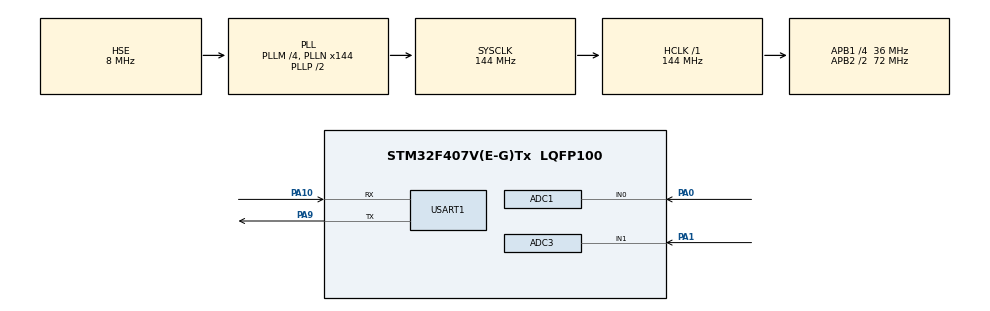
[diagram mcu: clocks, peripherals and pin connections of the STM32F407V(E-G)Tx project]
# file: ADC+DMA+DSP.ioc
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ADC1.Channel-6\#ChannelRegularConversion=ADC_CHANNEL_0
ADC1.ContinuousConvMode=DISABLE
ADC1.DMAContinuousRequests=ENABLE
ADC1.ExternalTrigConv=ADC_EXTERNALTRIGCONV_T3_TRGO
ADC1.Mode=__NULL
ADC1.NbrOfConversionFlag=1
ADC1.Rank-6\#ChannelRegularConversion=1
ADC1.SamplingTime-6\#ChannelRegularConversion=ADC_SAMPLETIME_3CYCLES
ADC1.master=1
ADC3.Channel-0\#ChannelRegularConversion=ADC_CHANNEL_1
ADC3.ContinuousConvMode=DISABLE
ADC3.DMAContinuousRequests=ENABLE
ADC3.ExternalTrigConv=ADC_EXTERNALTRIGCONV_T3_TRGO
ADC3.NbrOfConversion=1
ADC3.NbrOfConversionFlag=1
ADC3.Rank-0\#ChannelRegularConversion=1
ADC3.SamplingTime-0\#ChannelRegularConversion=ADC_SAMPLETIME_3CYCLES
Dma.ADC1.0.Direction=DMA_PERIPH_TO_MEMORY
Dma.ADC1.0.FIFOMode=DMA_FIFOMODE_DISABLE
Dma.ADC1.0.Instance=DMA2_Stream0
Dma.ADC1.0.MemDataAlignment=DMA_MDATAALIGN_HALFWORD
Dma.ADC1.0.MemInc=DMA_MINC_ENABLE
Dma.ADC1.0.Mode=DMA_CIRCULAR
Dma.ADC1.0.PeriphDataAlignment=DMA_PDATAALIGN_HALFWORD
Dma.ADC1.0.PeriphInc=DMA_PINC_DISABLE
Dma.ADC1.0.Priority=DMA_PRIORITY_LOW
Dma.ADC3.1.Direction=DMA_PERIPH_TO_MEMORY
Dma.ADC3.1.FIFOMode=DMA_FIFOMODE_DISABLE
Dma.ADC3.1.Instance=DMA2_Stream1
Dma.ADC3.1.MemDataAlignment=DMA_MDATAALIGN_HALFWORD
Dma.ADC3.1.MemInc=DMA_MINC_ENABLE
Dma.ADC3.1.Mode=DMA_CIRCULAR
Dma.ADC3.1.PeriphDataAlignment=DMA_PDATAALIGN_HALFWORD
Dma.ADC3.1.PeriphInc=DMA_PINC_DISABLE
Dma.ADC3.1.Priority=DMA_PRIORITY_LOW
Dma.Request0=ADC1
Dma.Request1=ADC3
Mcu.Family=STM32F4
Mcu.Name=STM32F407V(E-G)Tx
Mcu.Package=LQFP100
NVIC.DMA2_Stream0_IRQn=true\:0\:0\:false\:false\:true\:false\:true\:true
NVIC.DMA2_Stream1_IRQn=true\:0\:0\:false\:false\:true\:false\:true\:true
NVIC.PriorityGroup=NVIC_PRIORITYGROUP_4
PA0-WKUP.Signal=ADCx_IN0
PA1.Signal=ADCx_IN1
PA10.Mode=Asynchronous
PA10.Signal=USART1_RX
PA13.Mode=Serial_Wire
PA13.Signal=SYS_JTMS-SWDIO
PA14.Mode=Serial_Wire
PA14.Signal=SYS_JTCK-SWCLK
PA9.Mode=Asynchronous
PA9.Signal=USART1_TX
PC14-OSC32_IN.Mode=LSE-External-Oscillator
PC14-OSC32_IN.Signal=RCC_OSC32_IN
PC15-OSC32_OUT.Mode=LSE-External-Oscillator
PC15-OSC32_OUT.Signal=RCC_OSC32_OUT
PH0-OSC_IN.Mode=HSE-External-Oscillator
PH0-OSC_IN.Signal=RCC_OSC_IN
PH1-OSC_OUT.Mode=HSE-External-Oscillator
PH1-OSC_OUT.Signal=RCC_OSC_OUT
ProjectManager.HeapSize=0x200
ProjectManager.StackSize=0x400
ProjectManager.TargetToolchain=SW4STM32
RCC.48MHZClocksFreq_Value=72000000
RCC.AHBFreq_Value=144000000
RCC.APB1CLKDivider=RCC_HCLK_DIV4
RCC.APB1Freq_Value=36000000
RCC.APB1TimFreq_Value=72000000
RCC.APB2CLKDivider=RCC_HCLK_DIV2
RCC.APB2Freq_Value=72000000
RCC.APB2TimFreq_Value=144000000
RCC.CortexFreq_Value=144000000
RCC.HCLKFreq_Value=144000000
RCC.HSE_VALUE=8000000
RCC.HSI_VALUE=16000000
RCC.PLLM=4
RCC.PLLN=144
RCC.PLLSourceVirtual=RCC_PLLSOURCE_HSE
RCC.SYSCLKFreq_VALUE=144000000
RCC.SYSCLKSource=RCC_SYSCLKSOURCE_PLLCLK
RCC.VCOOutputFreq_Value=288000000
SH.ADCx_IN0.0=ADC1_IN0,IN0
SH.ADCx_IN1.0=ADC3_IN1,IN1
TIM3.AutoReloadPreload=TIM_AUTORELOAD_PRELOAD_ENABLE
TIM3.Period=2250-1
TIM3.TIM_MasterOutputTrigger=TIM_TRGO_UPDATE
USART1.VirtualMode=VM_ASYNC
VP_TIM3_VS_ClockSourceINT.Mode=Internal
board=custom

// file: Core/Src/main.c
/* USER CODE BEGIN Header */
/**
  ******************************************************************************
  * @file           : main.c
  * @brief          : Main program body
  ******************************************************************************
  * @attention
  *
  * Copyright (c) 2023 STMicroelectronics.
  * All rights reserved.
  *
  * This software is licensed under terms that can be found in the LICENSE file
  * in the root directory of this software component.
  * If no LICENSE file comes with this software, it is provided AS-IS.
  *
  ******************************************************************************
  */
/* USER CODE END Header */
#include "main.h"
#include "adc.h"
#include "dma.h"
#include "tim.h"
#include "usart.h"
#include "gpio.h"

/* USER CODE BEGIN Includes */
#include "retarget.h"
#include "arm_const_structs.h"
#include "arm_math.h"
#include "dsp/window_functions.h"
/* USER CODE END Includes */

/* USER CODE BEGIN PD */
#define FFT_LENGTH 1024
/* USER CODE END PD */

/* USER CODE BEGIN PV */
__IO uint8_t AdcConvEnd = 0;

uint16_t adcBuff_1[FFT_LENGTH], adcBuff_3[FFT_LENGTH];
float32_t fft_inputbuf_1[FFT_LENGTH * 2], fft_inputbuf_3[FFT_LENGTH * 2];
float32_t fft_outputbuf_1[FFT_LENGTH], fft_outputbuf_3[FFT_LENGTH];

float32_t Hanning_window[FFT_LENGTH];

float32_t theta_1,theta_3,theta;
/* USER CODE END PV */

void SystemClock_Config(void);

int main(void)
{

  /* MCU Configuration--------------------------------------------------------*/

  /* Reset of all peripherals, Initializes the Flash interface and the Systick. */
  HAL_Init();

  /* Configure the system clock */
  SystemClock_Config();

  /* Initialize all configured peripherals */
  MX_GPIO_Init();
  MX_DMA_Init();
  MX_USART1_UART_Init();
  MX_TIM3_Init();
  MX_ADC1_Init();
  MX_ADC3_Init();
  /* USER CODE BEGIN 2 */
  RetargetInit(&huart1);

  HAL_ADC_Start_DMA(&hadc1, (uint32_t *)adcBuff_1, 1024); //让ADC1去采集200个数，存放到adc_buff数组里
  HAL_ADC_Start_DMA(&hadc3, (uint32_t *)adcBuff_3, 1024); //让ADC1去采集200个数，存放到adc_buff数组里
  HAL_TIM_Base_Start(&htim3);                           //开启定时器3

  while (!AdcConvEnd)                                   //等待转换完毕
        ;
  for (int i = 0; i < FFT_LENGTH; i++)
  {
      fft_inputbuf_1[i * 2] = adcBuff_1[i] * 3.3 / 4096;//实部赋值，* 3.3 / 4096是为了将ADC采集到的值转换成实际电压
      fft_inputbuf_3[i * 2] = adcBuff_3[i] * 3.3 / 4096;//实部赋值，* 3.3 / 4096是为了将ADC采集到的值转换成实际电压
      fft_inputbuf_1[i * 2 + 1] = 0;//虚部赋值，固定为0.
      fft_inputbuf_3[i * 2 + 1] = 0;//虚部赋值，固定为0.
  }

  arm_cfft_f32(&arm_cfft_sR_f32_len1024, fft_inputbuf_1, 0, 1);
  arm_cfft_f32(&arm_cfft_sR_f32_len1024, fft_inputbuf_3, 0, 1);
  arm_cmplx_mag_f32(fft_inputbuf_1, fft_outputbuf_1, FFT_LENGTH);
  arm_cmplx_mag_f32(fft_inputbuf_3, fft_outputbuf_3, FFT_LENGTH);

  /*for(uint32_t i = 0; i < 350; i ++)
  {
      printf("%d:\t%f\n",i,fft_inputbuf_1[i]);
  }*/

  theta_1 = atan2(fft_inputbuf_1[321],fft_inputbuf_1[320]);
  theta_3 = atan2(fft_inputbuf_3[321],fft_inputbuf_3[320]);
  theta   = (theta_1 - theta_3) * 180.0 / 3.1415926;
  printf("theta:\t%.3f\n",theta);

  AdcConvEnd = 0;

  /*fft_outputbuf_1[0] /= 1024;
  fft_outputbuf_3[0] /= 1024;

  for (int i = 1; i < FFT_LENGTH; i++)//输出各次谐波幅值
  {
      fft_outputbuf_1[i] /= 512;
      fft_outputbuf_3[i] /= 512;
  }
  printf("FFT Result:\r\n");

  for (int i = 0; i < FFT_LENGTH/2; i++)//输出各次谐波幅值
  {
      printf("%d:\t%f\r\n", i, fft_outputbuf_3[i]);
  }*/
  /* USER CODE END 2 */

  /* Infinite loop */
  /* USER CODE BEGIN WHILE */
  while (1)
  {
      HAL_ADC_Start_DMA(&hadc1, (uint32_t *)adcBuff_1, 1024); //让ADC1去采集200个数，存放到adc_buff数组里
      HAL_ADC_Start_DMA(&hadc3, (uint32_t *)adcBuff_3, 1024); //让ADC1去采集200个数，存放到adc_buff数组里
      HAL_TIM_Base_Start(&htim3);                           //开启定时器3

      while (!AdcConvEnd)                                   //等待转换完毕
          ;
      for (int i = 0; i < FFT_LENGTH; i++)
      {
          fft_inputbuf_1[i * 2] = adcBuff_1[i] * 3.3 / 4096;//实部赋值，* 3.3 / 4096是为了将ADC采集到的值转换成实际电压
          fft_inputbuf_3[i * 2] = adcBuff_3[i] * 3.3 / 4096;//实部赋值，* 3.3 / 4096是为了将ADC采集到的值转换成实际电压
          fft_inputbuf_1[i * 2 + 1] = 0;//虚部赋值，固定为0.
          fft_inputbuf_3[i * 2 + 1] = 0;//虚部赋值，固定为0.
      }

      arm_cfft_f32(&arm_cfft_sR_f32_len1024, fft_inputbuf_1, 0, 1);
      arm_cfft_f32(&arm_cfft_sR_f32_len1024, fft_inputbuf_3, 0, 1);
      arm_cmplx_mag_f32(fft_inputbuf_1, fft_outputbuf_1, FFT_LENGTH);
      arm_cmplx_mag_f32(fft_inputbuf_3, fft_outputbuf_3, FFT_LENGTH);

      /*for(uint32_t i = 0; i < 350; i ++)
      {
          printf("%d:\t%f\n",i,fft_inputbuf_1[i]);
      }*/

      theta_1 = atan2(fft_inputbuf_1[321],fft_inputbuf_1[320]);
      theta_3 = atan2(fft_inputbuf_3[321],fft_inputbuf_3[320]);
      theta   = (theta_1 - theta_3) * 180.0 / 3.1415926;
      printf("theta:\t%.3f\n",theta);

      AdcConvEnd = 0;
    /* USER CODE END WHILE */

  }
}

void SystemClock_Config(void)
{
  RCC_OscInitTypeDef RCC_OscInitStruct = {0};
  RCC_ClkInitTypeDef RCC_ClkInitStruct = {0};

  /** Configure the main internal regulator output voltage
  */
  __HAL_RCC_PWR_CLK_ENABLE();
  __HAL_PWR_VOLTAGESCALING_CONFIG(PWR_REGULATOR_VOLTAGE_SCALE1);

  /** Initializes the RCC Oscillators according to the specified parameters
  * in the RCC_OscInitTypeDef structure.
  */
  RCC_OscInitStruct.OscillatorType = RCC_OSCILLATORTYPE_HSE;
  RCC_OscInitStruct.HSEState = RCC_HSE_ON;
  RCC_OscInitStruct.PLL.PLLState = RCC_PLL_ON;
  RCC_OscInitStruct.PLL.PLLSource = RCC_PLLSOURCE_HSE;
  RCC_OscInitStruct.PLL.PLLM = 4;
  RCC_OscInitStruct.PLL.PLLN = 144;
  RCC_OscInitStruct.PLL.PLLP = RCC_PLLP_DIV2;
  RCC_OscInitStruct.PLL.PLLQ = 4;
  if (HAL_RCC_OscConfig(&RCC_OscInitStruct) != HAL_OK)
  {
    Error_Handler();
  }

  /** Initializes the CPU, AHB and APB buses clocks
  */
  RCC_ClkInitStruct.ClockType = RCC_CLOCKTYPE_HCLK|RCC_CLOCKTYPE_SYSCLK
                              |RCC_CLOCKTYPE_PCLK1|RCC_CLOCKTYPE_PCLK2;
  RCC_ClkInitStruct.SYSCLKSource = RCC_SYSCLKSOURCE_PLLCLK;
  RCC_ClkInitStruct.AHBCLKDivider = RCC_SYSCLK_DIV1;
  RCC_ClkInitStruct.APB1CLKDivider = RCC_HCLK_DIV4;
  RCC_ClkInitStruct.APB2CLKDivider = RCC_HCLK_DIV2;

  if (HAL_RCC_ClockConfig(&RCC_ClkInitStruct, FLASH_LATENCY_4) != HAL_OK)
  {
    Error_Handler();
  }
}

void Error_Handler(void)
{
  __disable_irq();
  while (1)
  {
  }
}
